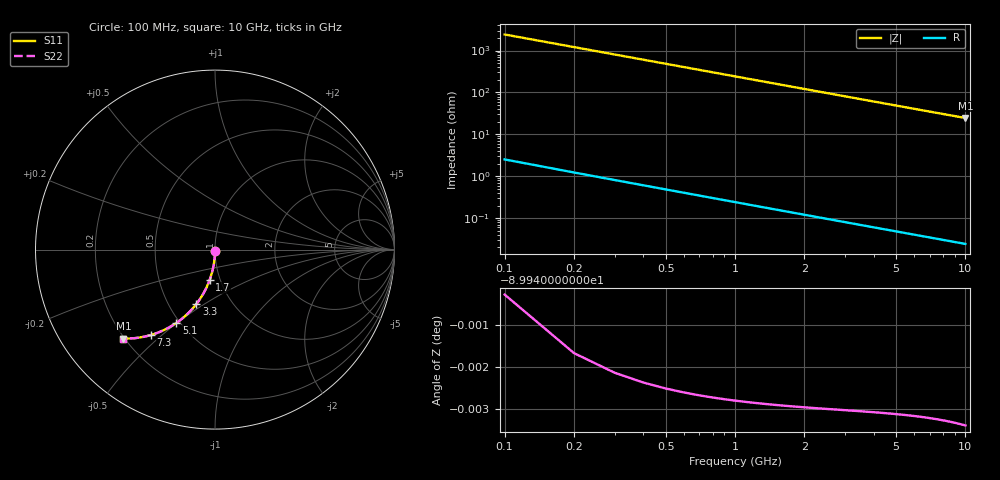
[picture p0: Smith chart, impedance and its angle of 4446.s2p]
# Hz S RI R 50.00
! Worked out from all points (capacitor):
!   100 points, 100 MHz to 10 GHz, reference 50 ohm
!   read as one part in shunt: C = 657 fF near 100 MHz
!   lowest |Z| = 24.6 ohm at 10 GHz (marker M1)
!   S11 on the Smith chart (normalised r, x): 100 MHz: 1.00, -0.02; 1.7 GHz: 0.89, -0.31; 3.3 GHz: 0.69, -0.46; 5.1 GHz: 0.48, -0.50; 7.3 GHz: 0.31, -0.46; 10 GHz: 0.20, -0.39
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1e8  -0.000109 -0.0103  0.9999 -0.0104  0.9999 -0.0104  -0.000109 -0.0103
2e8  -0.000439 -0.0206  0.9995 -0.0207  0.9995 -0.0207  -0.000439 -0.0206
3e8  -0.000981 -0.0308  0.999 -0.0311  0.999 -0.0311  -0.000981 -0.0308
4e8  -0.00173 -0.0411  0.9982 -0.0414  0.9982 -0.0414  -0.00173 -0.0411
5e8  -0.0027 -0.0513  0.9973 -0.0517  0.9973 -0.0517  -0.0027 -0.0513
6e8  -0.00387 -0.0615  0.9961 -0.0619  0.9961 -0.0619  -0.00387 -0.0615
8e8  -0.00684 -0.0817  0.9931 -0.0823  0.9931 -0.0823  -0.00684 -0.0817
9e8  -0.00863 -0.0917  0.9914 -0.0924  0.9914 -0.0924  -0.00863 -0.0917
1.1e9  -0.0128 -0.1116  0.9872 -0.1124  0.9872 -0.1124  -0.0128 -0.1116
1.4e9  -0.0205 -0.1409  0.9794 -0.1419  0.9794 -0.1419  -0.0205 -0.1409
1.7e9  -0.0299 -0.1693  0.97 -0.1706  0.97 -0.1706  -0.0299 -0.1693
1.8e9  -0.0334 -0.1786  0.9666 -0.18  0.9666 -0.18  -0.0334 -0.1786
2.1e9  -0.0449 -0.2058  0.9551 -0.2074  0.9551 -0.2074  -0.0449 -0.2058
2.5e9  -0.0623 -0.2404  0.9376 -0.2423  0.9376 -0.2423  -0.0623 -0.2404
3.3e9  -0.1035 -0.3029  0.8965 -0.3054  0.8965 -0.3054  -0.1035 -0.3029
3.4e9  -0.1092 -0.3101  0.8908 -0.3127  0.8908 -0.3127  -0.1092 -0.3101
4.2e9  -0.1571 -0.3618  0.8428 -0.3651  0.8428 -0.3651  -0.1571 -0.3618
5.1e9  -0.2151 -0.4085  0.7848 -0.4124  0.7848 -0.4124  -0.2151 -0.4085
6.7e9  -0.3201 -0.4634  0.6798 -0.4686  0.6798 -0.4686  -0.3201 -0.4634
7.3e9  -0.3582 -0.4761  0.6417 -0.4818  0.6417 -0.4818  -0.3582 -0.4761
8.4e9  -0.4244 -0.4904  0.5756 -0.497  0.5756 -0.497  -0.4244 -0.4904
1e10  -0.5102 -0.4954  0.4898 -0.5033  0.4898 -0.5033  -0.5102 -0.4954
